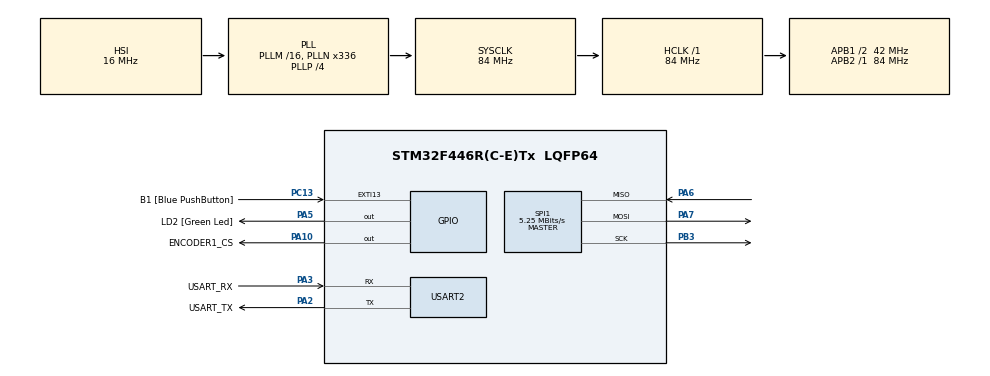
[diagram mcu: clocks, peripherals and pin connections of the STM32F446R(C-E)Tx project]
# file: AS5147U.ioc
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Mcu.Family=STM32F4
Mcu.Name=STM32F446R(C-E)Tx
Mcu.Package=LQFP64
NVIC.PriorityGroup=NVIC_PRIORITYGROUP_0
PA10.GPIO_Label=ENCODER1_CS
PA10.GPIO_Speed=GPIO_SPEED_FREQ_MEDIUM
PA10.Signal=GPIO_Output
PA13.GPIO_Label=TMS
PA13.Mode=Serial_Wire
PA13.Signal=SYS_JTMS-SWDIO
PA14.GPIO_Label=TCK
PA14.Mode=Serial_Wire
PA14.Signal=SYS_JTCK-SWCLK
PA2.GPIO_Label=USART_TX
PA2.Mode=Asynchronous
PA2.Signal=USART2_TX
PA3.GPIO_Label=USART_RX
PA3.Mode=Asynchronous
PA3.Signal=USART2_RX
PA5.GPIO_Label=LD2 [Green Led]
PA5.Signal=GPIO_Output
PA6.Mode=Full_Duplex_Master
PA6.Signal=SPI1_MISO
PA7.Mode=Full_Duplex_Master
PA7.Signal=SPI1_MOSI
PB3.Mode=Full_Duplex_Master
PB3.Signal=SPI1_SCK
PC13.GPIO_Label=B1 [Blue PushButton]
PC13.GPIO_ModeDefaultEXTI=GPIO_MODE_IT_FALLING
PC13.Signal=GPXTI13
PC14-OSC32_IN.Mode=LSE-External-Oscillator
PC14-OSC32_IN.Signal=RCC_OSC32_IN
PC15-OSC32_OUT.Mode=LSE-External-Oscillator
PC15-OSC32_OUT.Signal=RCC_OSC32_OUT
PH0-OSC_IN.Mode=HSE-External-Oscillator
PH0-OSC_IN.Signal=RCC_OSC_IN
PH1-OSC_OUT.Mode=HSE-External-Oscillator
PH1-OSC_OUT.Signal=RCC_OSC_OUT
ProjectManager.HeapSize=0x200
ProjectManager.StackSize=0x400
ProjectManager.TargetToolchain=STM32CubeIDE
RCC.48MHZClocksFreq_Value=84000000
RCC.AHBFreq_Value=84000000
RCC.APB1CLKDivider=RCC_HCLK_DIV2
RCC.APB1Freq_Value=42000000
RCC.APB1TimFreq_Value=84000000
RCC.APB2Freq_Value=84000000
RCC.APB2TimFreq_Value=84000000
RCC.CortexFreq_Value=84000000
RCC.FLatency-AdvancedSettings=FLASH_LATENCY_2
RCC.HCLKFreq_Value=84000000
RCC.HSE_VALUE=8000000
RCC.HSI_VALUE=16000000
RCC.PLLN=336
RCC.PLLP=RCC_PLLP_DIV4
RCC.SYSCLKFreq_VALUE=84000000
RCC.SYSCLKSource=RCC_SYSCLKSOURCE_PLLCLK
RCC.USBFreq_Value=168000000
RCC.VCOOutputFreq_Value=336000000
SPI1.BaudRatePrescaler=SPI_BAUDRATEPRESCALER_16
SPI1.CLKPhase=SPI_PHASE_2EDGE
SPI1.CLKPolarity=SPI_POLARITY_LOW
SPI1.CRCCalculation=SPI_CRCCALCULATION_DISABLE
SPI1.CalculateBaudRate=5.25 MBits/s
SPI1.DataSize=SPI_DATASIZE_8BIT
SPI1.Direction=SPI_DIRECTION_2LINES
SPI1.Mode=SPI_MODE_MASTER
SPI1.VirtualType=VM_MASTER
USART2.VirtualMode=VM_ASYNC
board=NUCLEO-F446RE

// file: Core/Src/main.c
/* USER CODE BEGIN Header */
/**
  ******************************************************************************
  * @file           : main.c
  * @brief          : Main program body
  ******************************************************************************
  * @attention
  *
  * Copyright (c) 2025 STMicroelectronics.
  * All rights reserved.
  *
  * This software is licensed under terms that can be found in the LICENSE file
  * in the root directory of this software component.
  * If no LICENSE file comes with this software, it is provided AS-IS.
  *
  ******************************************************************************
  */
/* USER CODE END Header */
#include "main.h"

SPI_HandleTypeDef hspi1;

UART_HandleTypeDef huart2;

void SystemClock_Config(void);
static void MX_GPIO_Init(void);
static void MX_USART2_UART_Init(void);
static void MX_SPI1_Init(void);

/* USER CODE BEGIN 0 */
// AS5147U CRC8 calculation (AMS polynomial 0x1D)
static uint8_t AS5x47_CalcCRC8(uint16_t data)
{
    uint8_t crc = 0xC4;
    uint8_t bytes[2] = { (uint8_t)(data >> 8), (uint8_t)(data & 0xFF) };

    for (int i = 0; i < 2; i++) {
        crc ^= bytes[i];
        for (int bit = 0; bit < 8; bit++) {
            if (crc & 0x80)
                crc = ((crc << 1) ^ 0x1D) & 0xFF;
            else
                crc = (crc << 1) & 0xFF;
        }
    }
    crc ^= 0xFF;
    return crc;
}

uint16_t AS5x47_Read16(SPI_HandleTypeDef *hspi, GPIO_TypeDef *CS_Port, uint16_t CS_Pin, uint16_t address)
{
    uint8_t tx[2];
    uint8_t rx[2];
    uint16_t cmd = (0x4000u | (address & 0x3FFFu)); // bit14=1 -> read

    tx[0] = (uint8_t)(cmd >> 8);
    tx[1] = (uint8_t)(cmd & 0xFF);

    // 1) Parancs elküldése
    HAL_GPIO_WritePin(CS_Port, CS_Pin, GPIO_PIN_RESET);
    HAL_SPI_Transmit(hspi, tx, 2, HAL_MAX_DELAY);
    HAL_GPIO_WritePin(CS_Port, CS_Pin, GPIO_PIN_SET);

    // 2) Dummy read a válaszért
    uint8_t dummy[2] = { 0xFF, 0xFF };
    HAL_GPIO_WritePin(CS_Port, CS_Pin, GPIO_PIN_RESET);
    HAL_SPI_TransmitReceive(hspi, dummy, rx, 2, HAL_MAX_DELAY);
    HAL_GPIO_WritePin(CS_Port, CS_Pin, GPIO_PIN_SET);

    uint16_t result = ((uint16_t)rx[0] << 8) | rx[1];
    return result;
}

void AS5x47_WriteRegister(SPI_HandleTypeDef *hspi, GPIO_TypeDef *CS_Port, uint16_t CS_Pin, uint16_t address, uint16_t data)
{
    uint8_t frame[3];

    // Első 24-bit frame: write command
    uint16_t cmd = (address & 0x3FFFu);  // bit14=0 (write)
    uint8_t crc_cmd = AS5x47_CalcCRC8(cmd);

    frame[0] = (uint8_t)(cmd >> 8);
    frame[1] = (uint8_t)(cmd & 0xFF);
    frame[2] = crc_cmd;

    HAL_GPIO_WritePin(CS_Port, CS_Pin, GPIO_PIN_RESET);
    HAL_SPI_Transmit(hspi, frame, 3, HAL_MAX_DELAY);
    HAL_GPIO_WritePin(CS_Port, CS_Pin, GPIO_PIN_SET);

    HAL_Delay(1); // kis szünet a két frame között

    // Második 24-bit frame: data + CRC
    uint8_t crc_data = AS5x47_CalcCRC8(data);
    frame[0] = (uint8_t)(data >> 8);
    frame[1] = (uint8_t)(data & 0xFF);
    frame[2] = crc_data;

    HAL_GPIO_WritePin(CS_Port, CS_Pin, GPIO_PIN_RESET);
    HAL_SPI_Transmit(hspi, frame, 3, HAL_MAX_DELAY);
    HAL_GPIO_WritePin(CS_Port, CS_Pin, GPIO_PIN_SET);
}

/* USER CODE END 0 */

int main(void)
{

  /* MCU Configuration--------------------------------------------------------*/

  /* Reset of all peripherals, Initializes the Flash interface and the Systick. */
  HAL_Init();

  /* Configure the system clock */
  SystemClock_Config();

  /* Initialize all configured peripherals */
  MX_GPIO_Init();
  MX_USART2_UART_Init();
  MX_SPI1_Init();
  /* USER CODE BEGIN 2 */

  /*
  uint16_t address = 0x0019;

  uint16_t data = 0;
  uint16_t data2 = 0;
  uint16_t rawAng = 0;
  uint16_t rawAngComp = 0;

  uint16_t frame = address & 0x3FFF;

  (frame) ^= (-(1) ^ (frame)) & (1UL << (14)); //Mert Read

  //READ settings
  HAL_Delay(10);
  HAL_GPIO_WritePin(ENCODER1_CS_GPIO_Port, ENCODER1_CS_Pin, GPIO_PIN_RESET);
  HAL_Delay(10);
  HAL_SPI_Transmit(&hspi1, (uint8_t *)&frame, 1, HAL_MAX_DELAY);
  HAL_Delay(10);
  HAL_GPIO_WritePin(ENCODER1_CS_GPIO_Port, ENCODER1_CS_Pin, GPIO_PIN_SET);

  HAL_Delay(10);
  HAL_GPIO_WritePin(ENCODER1_CS_GPIO_Port, ENCODER1_CS_Pin, GPIO_PIN_RESET);
  HAL_Delay(10);
  HAL_SPI_Receive(&hspi1, (uint8_t *)&data, 1, HAL_MAX_DELAY);;
  HAL_Delay(10);
  HAL_GPIO_WritePin(ENCODER1_CS_GPIO_Port, ENCODER1_CS_Pin, GPIO_PIN_SET);
  HAL_Delay(10);

  //Disable DAEC
  frame = address & 0x3FFF;

  uint16_t data2write = 0b1 << 4;

  //Write settings
  HAL_Delay(10);
  HAL_GPIO_WritePin(ENCODER1_CS_GPIO_Port, ENCODER1_CS_Pin, GPIO_PIN_RESET);
  HAL_Delay(10);
  HAL_SPI_Transmit(&hspi1, (uint8_t *)&frame, 1, HAL_MAX_DELAY);
  HAL_Delay(10);
  HAL_GPIO_WritePin(ENCODER1_CS_GPIO_Port, ENCODER1_CS_Pin, GPIO_PIN_SET);

  HAL_Delay(10);
  HAL_GPIO_WritePin(ENCODER1_CS_GPIO_Port, ENCODER1_CS_Pin, GPIO_PIN_RESET);
  HAL_Delay(10);
  HAL_SPI_Transmit(&hspi1, (uint8_t *)&data2write, 1, HAL_MAX_DELAY);;
  HAL_Delay(10);
  HAL_GPIO_WritePin(ENCODER1_CS_GPIO_Port, ENCODER1_CS_Pin, GPIO_PIN_SET);
  HAL_Delay(10);

  //READ settings
  (frame) ^= (-(1) ^ (frame)) & (1UL << (14)); //Mert Read

  HAL_Delay(10);
  HAL_GPIO_WritePin(ENCODER1_CS_GPIO_Port, ENCODER1_CS_Pin, GPIO_PIN_RESET);
  HAL_Delay(10);
  HAL_SPI_Transmit(&hspi1, (uint8_t *)&frame, 1, HAL_MAX_DELAY);
  HAL_Delay(10);
  HAL_GPIO_WritePin(ENCODER1_CS_GPIO_Port, ENCODER1_CS_Pin, GPIO_PIN_SET);

  HAL_Delay(10);
  HAL_GPIO_WritePin(ENCODER1_CS_GPIO_Port, ENCODER1_CS_Pin, GPIO_PIN_RESET);
  HAL_Delay(10);
  HAL_SPI_Receive(&hspi1, (uint8_t *)&data2, 1, HAL_MAX_DELAY);;
  HAL_Delay(10);
  HAL_GPIO_WritePin(ENCODER1_CS_GPIO_Port, ENCODER1_CS_Pin, GPIO_PIN_SET);
  HAL_Delay(10);

*/

  char MSG[64] = {'\0'};
  float scaler = 16383.0;
  float angle, angleWcomp;
  uint16_t rawAng = 0;
  uint16_t rawAngComp = 0;

  // 1) Olvasd ki az eredeti értéket
  uint16_t settings1 = AS5x47_Read16(&hspi1, ENCODER1_CS_GPIO_Port, ENCODER1_CS_Pin, 0x0019);

  // 2) Állítsd be a bit4-et
  settings1 |= (0 << 4);
  AS5x47_WriteRegister(&hspi1, ENCODER1_CS_GPIO_Port, ENCODER1_CS_Pin, 0x0019, settings1);

  // 3) Ellenőrizd visszaolvasással
  uint16_t verify = AS5x47_Read16(&hspi1, ENCODER1_CS_GPIO_Port, ENCODER1_CS_Pin, 0x0019);

  /* USER CODE END 2 */

  /* Infinite loop */
  /* USER CODE BEGIN WHILE */
  while (1)
  {
	  rawAng = AS5x47_Read16(&hspi1, ENCODER1_CS_GPIO_Port, ENCODER1_CS_Pin, 0x3FFE);
	  rawAngComp = AS5x47_Read16(&hspi1, ENCODER1_CS_GPIO_Port, ENCODER1_CS_Pin, 0x3FFF);

	  rawAng &= 0x3FFF;        // 14 bites adat
	  rawAngComp &= 0x3FFF;

	  angle = (float)rawAng/scaler * (float)360;
	  angleWcomp = (float)rawAngComp/scaler * (float)360;

	  // kurzor vissza a terminál elejére (2 sorral fel), képernyő frissítés
	  snprintf(MSG, sizeof(MSG), "\033[H\033[J"); // clear screen (opcionális)
	  HAL_UART_Transmit(&huart2, (uint8_t*)MSG, strlen(MSG), 100);

	  // első sor
	  snprintf(MSG, sizeof(MSG), "Raw angle   : %05.3f °\r\n", angle);
	  HAL_UART_Transmit(&huart2, (uint8_t*)MSG, strlen(MSG), 100);

	  // második sor
	  snprintf(MSG, sizeof(MSG), "With comp   : %05.3f °\r\n", angleWcomp);
	  HAL_UART_Transmit(&huart2, (uint8_t*)MSG, strlen(MSG), 100);

	  HAL_Delay(200); // frissítés ~20 Hz-en
    /* USER CODE END WHILE */

  }
}

void SystemClock_Config(void)
{
  RCC_OscInitTypeDef RCC_OscInitStruct = {0};
  RCC_ClkInitTypeDef RCC_ClkInitStruct = {0};

  /** Configure the main internal regulator output voltage
  */
  __HAL_RCC_PWR_CLK_ENABLE();
  __HAL_PWR_VOLTAGESCALING_CONFIG(PWR_REGULATOR_VOLTAGE_SCALE3);

  /** Initializes the RCC Oscillators according to the specified parameters
  * in the RCC_OscInitTypeDef structure.
  */
  RCC_OscInitStruct.OscillatorType = RCC_OSCILLATORTYPE_HSI;
  RCC_OscInitStruct.HSIState = RCC_HSI_ON;
  RCC_OscInitStruct.HSICalibrationValue = RCC_HSICALIBRATION_DEFAULT;
  RCC_OscInitStruct.PLL.PLLState = RCC_PLL_ON;
  RCC_OscInitStruct.PLL.PLLSource = RCC_PLLSOURCE_HSI;
  RCC_OscInitStruct.PLL.PLLM = 16;
  RCC_OscInitStruct.PLL.PLLN = 336;
  RCC_OscInitStruct.PLL.PLLP = RCC_PLLP_DIV4;
  RCC_OscInitStruct.PLL.PLLQ = 2;
  RCC_OscInitStruct.PLL.PLLR = 2;
  if (HAL_RCC_OscConfig(&RCC_OscInitStruct) != HAL_OK)
  {
    Error_Handler();
  }

  /** Initializes the CPU, AHB and APB buses clocks
  */
  RCC_ClkInitStruct.ClockType = RCC_CLOCKTYPE_HCLK|RCC_CLOCKTYPE_SYSCLK
                              |RCC_CLOCKTYPE_PCLK1|RCC_CLOCKTYPE_PCLK2;
  RCC_ClkInitStruct.SYSCLKSource = RCC_SYSCLKSOURCE_PLLCLK;
  RCC_ClkInitStruct.AHBCLKDivider = RCC_SYSCLK_DIV1;
  RCC_ClkInitStruct.APB1CLKDivider = RCC_HCLK_DIV2;
  RCC_ClkInitStruct.APB2CLKDivider = RCC_HCLK_DIV1;

  if (HAL_RCC_ClockConfig(&RCC_ClkInitStruct, FLASH_LATENCY_2) != HAL_OK)
  {
    Error_Handler();
  }
}

static void MX_SPI1_Init(void)
{

  /* SPI1 parameter configuration*/
  hspi1.Instance = SPI1;
  hspi1.Init.Mode = SPI_MODE_MASTER;
  hspi1.Init.Direction = SPI_DIRECTION_2LINES;
  hspi1.Init.DataSize = SPI_DATASIZE_8BIT;
  hspi1.Init.CLKPolarity = SPI_POLARITY_LOW;
  hspi1.Init.CLKPhase = SPI_PHASE_2EDGE;
  hspi1.Init.NSS = SPI_NSS_SOFT;
  hspi1.Init.BaudRatePrescaler = SPI_BAUDRATEPRESCALER_16;
  hspi1.Init.FirstBit = SPI_FIRSTBIT_MSB;
  hspi1.Init.TIMode = SPI_TIMODE_DISABLE;
  hspi1.Init.CRCCalculation = SPI_CRCCALCULATION_DISABLE;
  hspi1.Init.CRCPolynomial = 10;
  if (HAL_SPI_Init(&hspi1) != HAL_OK)
  {
    Error_Handler();
  }

}

static void MX_USART2_UART_Init(void)
{

  huart2.Instance = USART2;
  huart2.Init.BaudRate = 115200;
  huart2.Init.WordLength = UART_WORDLENGTH_8B;
  huart2.Init.StopBits = UART_STOPBITS_1;
  huart2.Init.Parity = UART_PARITY_NONE;
  huart2.Init.Mode = UART_MODE_TX_RX;
  huart2.Init.HwFlowCtl = UART_HWCONTROL_NONE;
  huart2.Init.OverSampling = UART_OVERSAMPLING_16;
  if (HAL_UART_Init(&huart2) != HAL_OK)
  {
    Error_Handler();
  }

}

static void MX_GPIO_Init(void)
{
  GPIO_InitTypeDef GPIO_InitStruct = {0};

  /* GPIO Ports Clock Enable */
  __HAL_RCC_GPIOC_CLK_ENABLE();
  __HAL_RCC_GPIOH_CLK_ENABLE();
  __HAL_RCC_GPIOA_CLK_ENABLE();
  __HAL_RCC_GPIOB_CLK_ENABLE();

  /*Configure GPIO pin Output Level */
  HAL_GPIO_WritePin(GPIOA, LD2_Pin|ENCODER1_CS_Pin, GPIO_PIN_RESET);

  /*Configure GPIO pin : B1_Pin */
  GPIO_InitStruct.Pin = B1_Pin;
  GPIO_InitStruct.Mode = GPIO_MODE_IT_FALLING;
  GPIO_InitStruct.Pull = GPIO_NOPULL;
  HAL_GPIO_Init(B1_GPIO_Port, &GPIO_InitStruct);

  /*Configure GPIO pin : LD2_Pin */
  GPIO_InitStruct.Pin = LD2_Pin;
  GPIO_InitStruct.Mode = GPIO_MODE_OUTPUT_PP;
  GPIO_InitStruct.Pull = GPIO_NOPULL;
  GPIO_InitStruct.Speed = GPIO_SPEED_FREQ_LOW;
  HAL_GPIO_Init(LD2_GPIO_Port, &GPIO_InitStruct);

  /*Configure GPIO pin : ENCODER1_CS_Pin */
  GPIO_InitStruct.Pin = ENCODER1_CS_Pin;
  GPIO_InitStruct.Mode = GPIO_MODE_OUTPUT_PP;
  GPIO_InitStruct.Pull = GPIO_NOPULL;
  GPIO_InitStruct.Speed = GPIO_SPEED_FREQ_MEDIUM;
  HAL_GPIO_Init(ENCODER1_CS_GPIO_Port, &GPIO_InitStruct);

}

void Error_Handler(void)
{
  __disable_irq();
  while (1)
  {
  }
}
